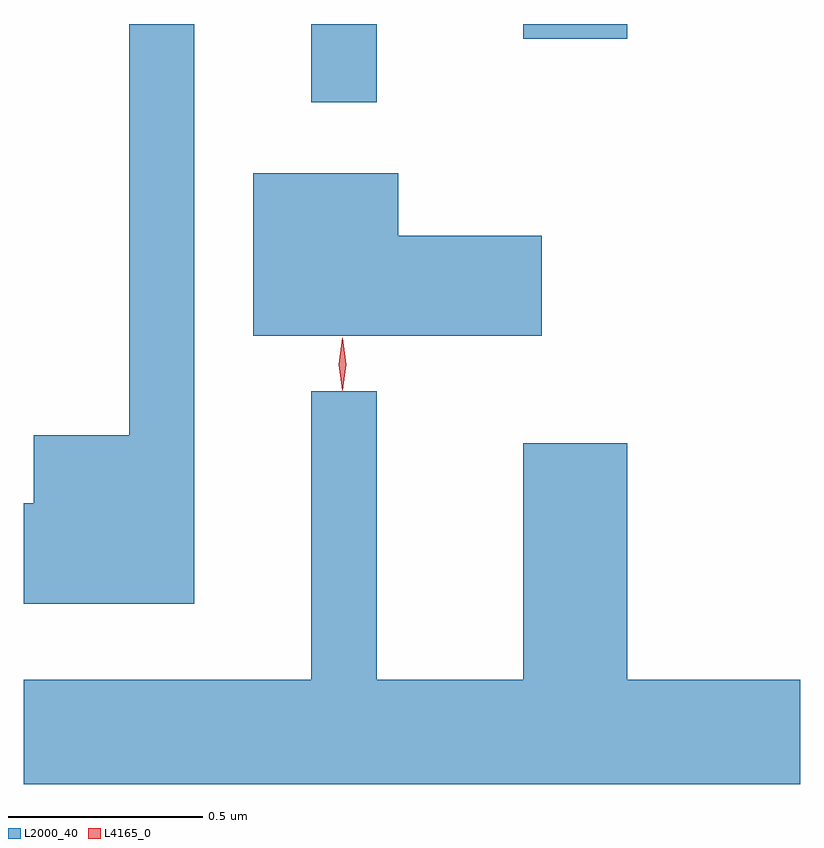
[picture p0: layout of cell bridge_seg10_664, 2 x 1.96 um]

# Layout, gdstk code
import gdstk
lib = gdstk.Library(unit=1e-6, precision=1e-09)
def R(c, l, rs):  # rectangles x0, y0, x1, y1
    for r in rs: c.add(gdstk.rectangle(r[:2], r[2:], *l))
def P(c, l, *ps):  # polygons
    for p in ps: c.add(gdstk.Polygon(p, *l))
L2000_40 = (2000, 40)
L4165_0 = (4165, 0)

bridge_seg10_664 = lib.new_cell('bridge_seg10_664')
R(bridge_seg10_664, L2000_40, [(674.071,2137.873,674.239,2138.074), (674.616,2138.036,674.884,2138.074)])
P(bridge_seg10_664, L2000_40, [(673.769,2138.074),(673.601,2138.074),(673.601,2137.014),(673.356,2137.014),(673.356,2136.839),(673.33,2136.839),(673.33,2136.581),(673.769,2136.581)],
  [(674.664,2137.529),(674.294,2137.529),(674.294,2137.689),(673.921,2137.689),(673.921,2137.271),(674.664,2137.271)],
  [(675.33,2136.384),(674.884,2136.384),(674.884,2136.994),(674.616,2136.994),(674.616,2136.384),(674.239,2136.384),(674.239,2137.128),(674.071,2137.128),(674.071,2136.384),(673.33,2136.384),(673.33,2136.116),(675.33,2136.116)])
P(bridge_seg10_664, L4165_0, [(674.15,2137.13),(674.141,2137.198),(674.15,2137.265),(674.15,2137.266),(674.151,2137.265),(674.16,2137.198),(674.152,2137.13),(674.151,2137.13)],
  [(674.15,2137.133),(674.141,2137.196),(674.15,2137.259),(674.15,2137.26),(674.151,2137.259),(674.161,2137.196),(674.152,2137.133),(674.151,2137.133)])

lib.write_gds('bridge_seg10_664.gds')
